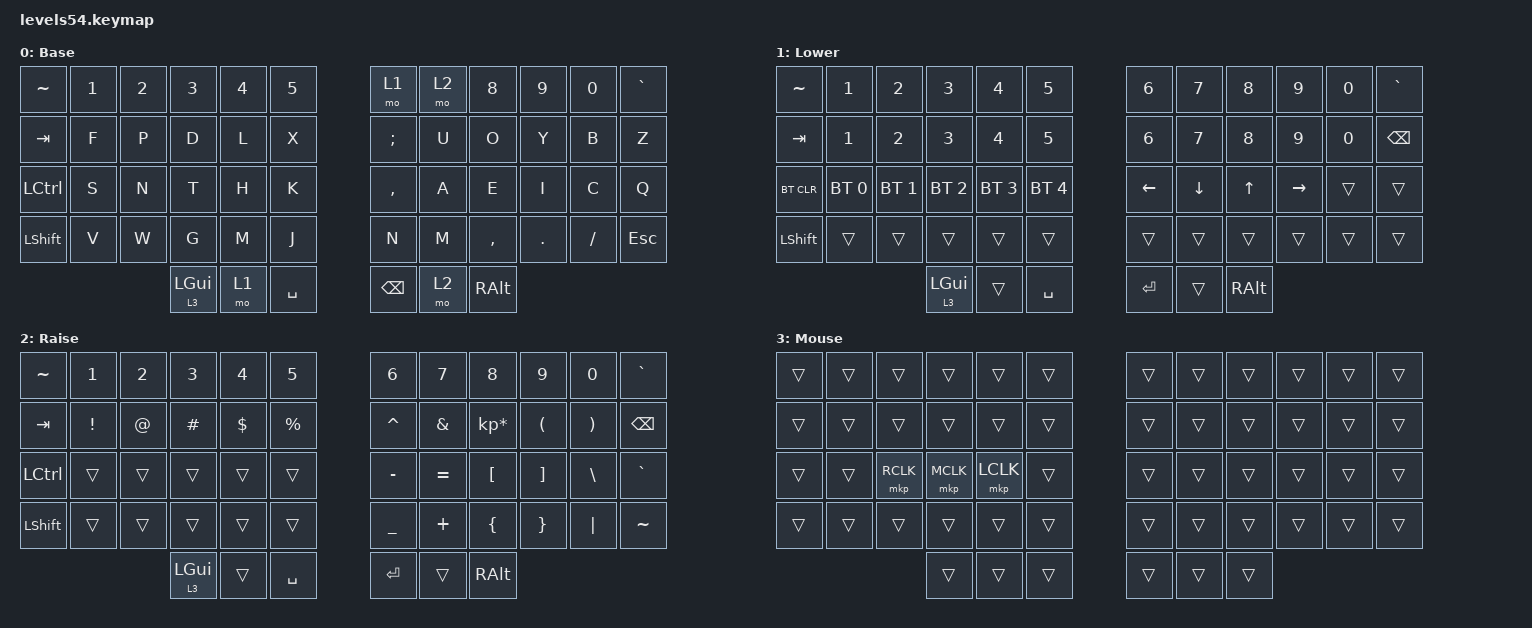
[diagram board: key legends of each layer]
#include <behaviors.dtsi>
#include <dt-bindings/zmk/bt.h>
#include <dt-bindings/zmk/keys.h>
#include <dt-bindings/zmk/outputs.h>
#include <dt-bindings/zmk/pointing.h>

/ {
    keymap {
        compatible = "zmk,keymap";
        default_layer {
            display-name = "Base";
            bindings = <
                &kp TILDE &kp N1 &kp N2 &kp N3 &kp N4 &kp N5   &mo 1 &mo 2  &kp N8     &kp N9   &kp N0    &kp GRAVE
                &kp TAB   &kp F  &kp P  &kp D  &kp L  &kp X    &kp SEMI &kp U  &kp O     &kp Y   &kp B    &kp Z
                &kp LCTRL &kp S  &kp N  &kp T  &kp H  &kp K    &kp COMMA &kp A  &kp E     &kp I   &kp C &kp Q
                &kp LSHFT &kp V  &kp W  &kp G  &kp M  &kp J    &kp N &kp M  &kp COMMA &kp DOT &kp FSLH &kp ESC
                            &lt 3 LGUI &mo 1 &kp SPACE   &kp BSPC &mo 2 &kp RALT
            >;
        };

        lower_layer {
            display-name = "Lower";
            bindings = <
                &kp TILDE &kp N1 &kp N2 &kp N3 &kp N4 &kp N5   &kp N6 &kp N7  &kp N8     &kp N9   &kp N0    &kp GRAVE
                &kp TAB    &kp N1       &kp N2       &kp N3       &kp N4       &kp N5         &kp N6   &kp N7   &kp N8 &kp N9    &kp N0 &kp BSPC
                &bt BT_CLR &bt BT_SEL 0 &bt BT_SEL 1 &bt BT_SEL 2 &bt BT_SEL 3 &bt BT_SEL 4   &kp LEFT &kp DOWN &kp UP &kp RIGHT &trans &trans
                &kp LSHFT  &trans       &trans       &trans       &trans       &trans         &trans   &trans   &trans &trans    &trans &trans
                                            &lt 3 LGUI     &trans       &kp SPACE      &kp RET  &trans   &kp RALT

            >;
        };

        raise_layer {
            display-name = "Raise";
            bindings = <
                &kp TILDE &kp N1 &kp N2 &kp N3 &kp N4 &kp N5   &kp N6 &kp N7  &kp N8     &kp N9   &kp N0    &kp GRAVE
                &kp  TAB  &kp EXCL &kp AT &kp HASH &kp DLLR &kp PRCNT   &kp CARET &kp AMPS  &kp KP_MULTIPLY &kp LPAR &kp RPAR &kp BSPC
                &kp LCTRL &trans   &trans &trans   &trans   &trans      &kp MINUS &kp EQUAL &kp LBKT        &kp RBKT &kp BSLH &kp GRAVE
                &kp LSHFT &trans   &trans &trans   &trans   &trans      &kp UNDER &kp PLUS  &kp LBRC        &kp RBRC &kp PIPE &kp TILDE
                                        &lt 3 LGUI &trans   &kp SPACE   &kp RET   &trans    &kp RALT
            >;
        };

        mouse_layer {
            display-name = "Mouse";
            bindings = <
                &trans &trans  &trans     &trans     &trans     &trans  &trans  &trans  &trans  &trans  &trans &trans
                &trans &trans  &trans     &trans     &trans     &trans  &trans  &trans  &trans  &trans  &trans &trans
                &trans &trans  &mkp RCLK  &mkp MCLK  &mkp LCLK  &trans  &trans  &trans  &trans  &trans  &trans &trans
                &trans &trans  &trans     &trans     &trans     &trans  &trans  &trans  &trans  &trans  &trans &trans
                                &trans     &trans     &trans  &trans  &trans  &trans
            >;
        };
    };
};
